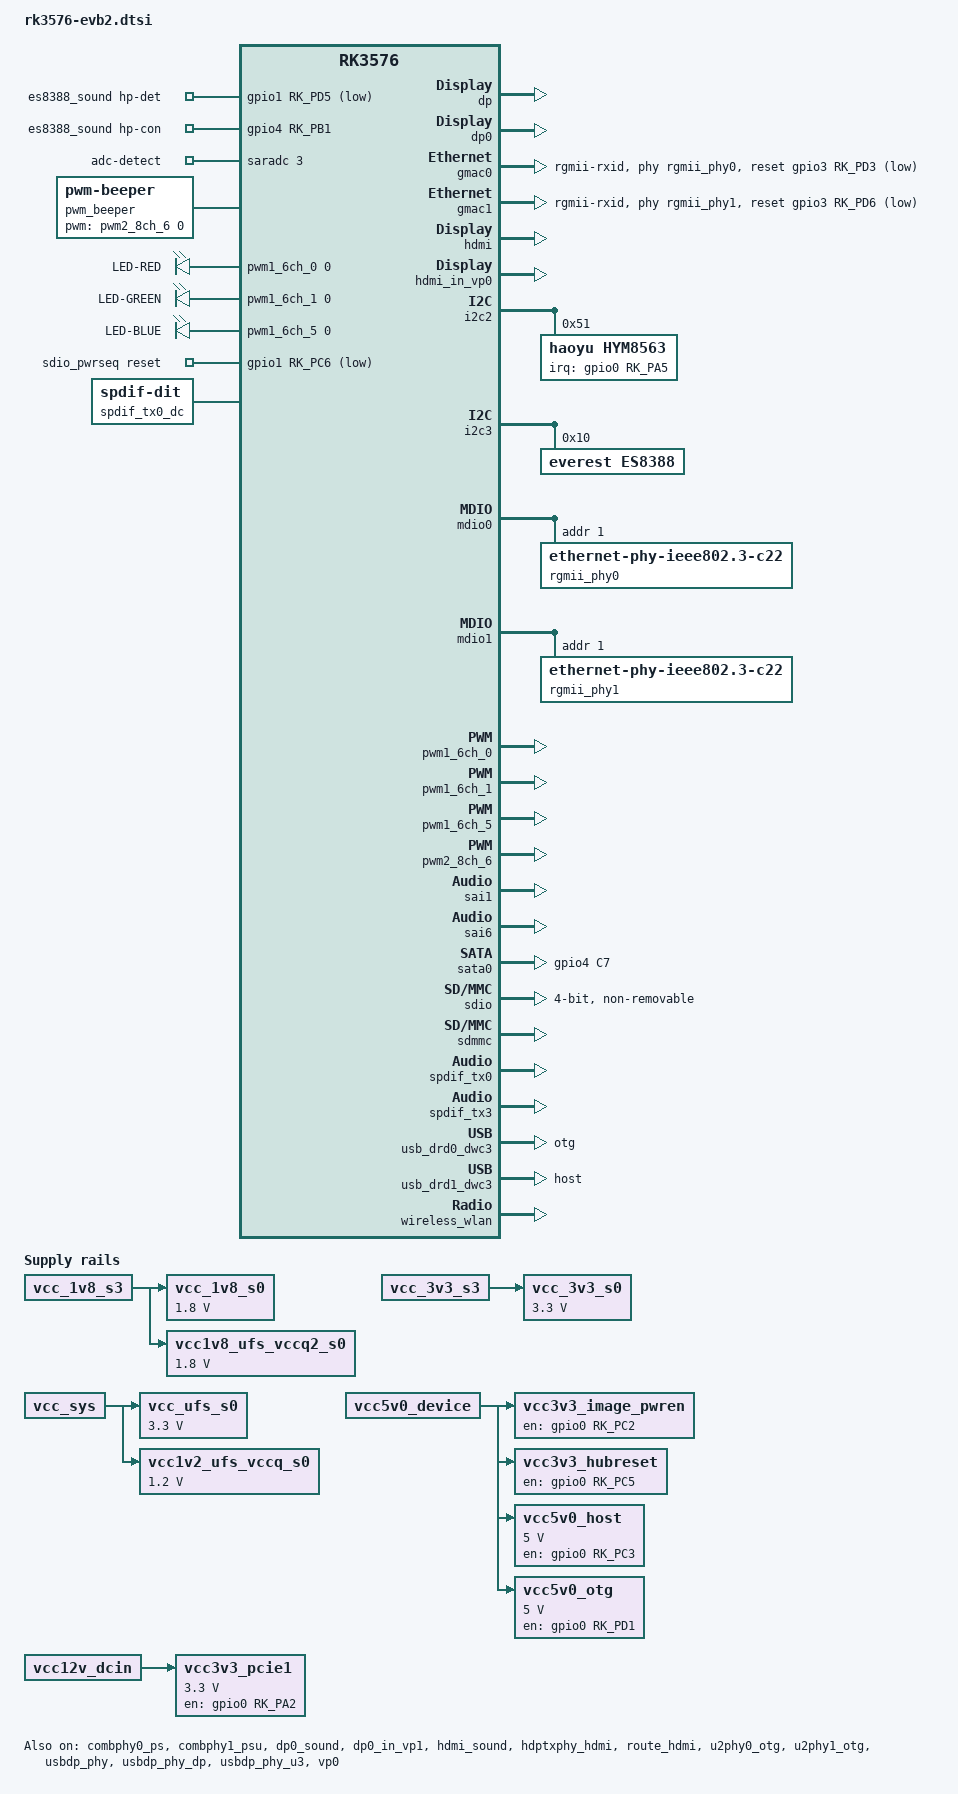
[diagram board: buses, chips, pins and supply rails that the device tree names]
// SPDX-License-Identifier: (GPL-2.0+ OR MIT)
/*
 * Copyright (c) 2024 Rockchip Electronics Co., Ltd.
 *
 */

#include <dt-bindings/usb/pd.h>
#include "rk3576-evb.dtsi"
#include "rk3576-rk806.dtsi"

/delete-node/ &leds;
/delete-node/ &gt1x;

/ {
	es8388_sound: es8388-sound {
		status = "okay";
		compatible = "rockchip,multicodecs-card";
		rockchip,card-name = "rockchip-es8388";
		hp-det-gpio = <&gpio1 RK_PD5 GPIO_ACTIVE_LOW>;
		io-channels = <&saradc 3>;
		io-channel-names = "adc-detect";
		keyup-threshold-microvolt = <1800000>;
		poll-interval = <100>;
		hp-con-gpio = <&gpio4 RK_PB1 GPIO_ACTIVE_HIGH>;
		rockchip,pre-power-on-delay-ms = <30>;
		rockchip,post-power-down-delay-ms = <40>;
		rockchip,format = "i2s";
		rockchip,mclk-fs = <256>;
		rockchip,cpu = <&sai1>;
		rockchip,codec = <&es8388>;
		rockchip,audio-routing =
			"Headphone", "LOUT1",
			"Headphone", "ROUT1",
			"Speaker", "LOUT2",
			"Speaker", "ROUT2",
			"Headphone", "Headphone Power",
			"Headphone", "Headphone Power",
			"Speaker", "Speaker Power",
			"Speaker", "Speaker Power",
			"LINPUT1", "Main Mic",
			"LINPUT2", "Main Mic",
			"RINPUT1", "Headset Mic",
			"RINPUT2", "Headset Mic";
		pinctrl-names = "default";
		pinctrl-0 = <&hp_det>;
		play-pause-key {
			label = "playpause";
			linux,code = <KEY_PLAYPAUSE>;
			press-threshold-microvolt = <2000>;
		};
	};

	pwm_beeper: pwm-beeper {
		status = "okay";
		compatible = "pwm-beeper";
		pwms = <&pwm2_8ch_6 0 5000 0>;
	};

	pwm_leds: pwm-leds {
		status = "okay";
		compatible = "pwm-leds";
		r_led: r-led {
			label = "LED-RED";
			pwms = <&pwm1_6ch_0 0 5000 0>;
			max-brightness = <255>;
			default-state = "off";
		};
		g_led: g-led {
			label = "LED-GREEN";
			pwms = <&pwm1_6ch_1 0 5000 0>;
			max-brightness = <255>;
			default-state = "off";
		};
		b_led: b-led {
			label = "LED-BLUE";
			pwms = <&pwm1_6ch_5 0 5000 0>;
			max-brightness = <255>;
			default-state = "on";
			linux,default-trigger = "heartbeat";
		};
	};

	sdio_pwrseq: sdio-pwrseq {
		compatible = "mmc-pwrseq-simple";
		pinctrl-names = "default";
		pinctrl-0 = <&wifi_poweren_gpio>;

		/*
		 * On the module itself this is one of these (depending
		 * on the actual card populated):
		 * - SDIO_RESET_L_WL_REG_ON
		 * - PDN (power down when low)
		 */
		post-power-on-delay-ms = <200>;
		reset-gpios = <&gpio1 RK_PC6 GPIO_ACTIVE_LOW>;
	};

	spdif_tx0_dc: spdif-tx0-dc {
		status = "okay";
		compatible = "linux,spdif-dit";
		#sound-dai-cells = <0>;
	};

	spdif_tx0_sound: spdif-tx0-sound {
		status = "okay";
		compatible = "simple-audio-card";
		simple-audio-card,mclk-fs = <128>;
		simple-audio-card,name = "rockchip,spdif-tx0";
		simple-audio-card,cpu {
			sound-dai = <&spdif_tx0>;
		};
		simple-audio-card,codec {
			sound-dai = <&spdif_tx0_dc>;
		};
	};

	vcc_1v8_s0: vcc-1v8-s0 {
		compatible = "regulator-fixed";
		regulator-name = "vcc_1v8_s0";
		regulator-boot-on;
		regulator-always-on;
		regulator-min-microvolt = <1800000>;
		regulator-max-microvolt = <1800000>;
		vin-supply = <&vcc_1v8_s3>;
	};

	vcc_3v3_s0: vcc-3v3-s0 {
		compatible = "regulator-fixed";
		regulator-name = "vcc_3v3_s0";
		regulator-boot-on;
		regulator-always-on;
		regulator-min-microvolt = <3300000>;
		regulator-max-microvolt = <3300000>;
		vin-supply = <&vcc_3v3_s3>;
	};

	vcc_ufs_s0: vcc-ufs-s0 {
		compatible = "regulator-fixed";
		regulator-name = "vcc_ufs_s0";
		regulator-boot-on;
		regulator-always-on;
		regulator-min-microvolt = <3300000>;
		regulator-max-microvolt = <3300000>;
		vin-supply = <&vcc_sys>;
	};

	vcc1v8_ufs_vccq2_s0: vcc1v8-ufs-vccq2-s0 {
		compatible = "regulator-fixed";
		regulator-name = "vcc1v8_ufs_vccq2_s0";
		regulator-boot-on;
		regulator-always-on;
		regulator-min-microvolt = <1800000>;
		regulator-max-microvolt = <1800000>;
		vin-supply = <&vcc_1v8_s3>;
	};

	vcc1v2_ufs_vccq_s0: vcc1v2-ufs-vccq-s0 {
		compatible = "regulator-fixed";
		regulator-name = "vcc1v2_ufs_vccq_s0";
		regulator-boot-on;
		regulator-always-on;
		regulator-min-microvolt = <1200000>;
		regulator-max-microvolt = <1200000>;
		vin-supply = <&vcc_sys>;
	};

	vcc3v3_image_pwren: image-pwren {
		compatible = "regulator-fixed";
		regulator-name = "vcc3v3_image_pwren";
		enable-active-high;
		regulator-boot-on;
		regulator-always-on;
		gpio = <&gpio0 RK_PC2 GPIO_ACTIVE_HIGH>;
		vin-supply = <&vcc5v0_device>;
		pinctrl-names = "default";
		pinctrl-0 = <&image_pwren_gpio>;
	};

	vcc3v3_hubreset: vcc3v3-hubreset {
		compatible = "regulator-fixed";
		regulator-name = "vcc3v3_hubreset";
		enable-active-high;
		regulator-boot-on;
		regulator-always-on;
		gpio = <&gpio0 RK_PC5 GPIO_ACTIVE_HIGH>;
		vin-supply = <&vcc5v0_device>;
		pinctrl-names = "default";
		pinctrl-0 = <&usb_hub_reset>;
	};

	vcc3v3_pcie1: vcc3v3-pcie1 {
		compatible = "regulator-fixed";
		regulator-name = "vcc3v3_pcie1";
		regulator-min-microvolt = <3300000>;
		regulator-max-microvolt = <3300000>;
		enable-active-high;
		gpios = <&gpio0 RK_PA2 GPIO_ACTIVE_HIGH>;
		startup-delay-us = <5000>;
		vin-supply = <&vcc12v_dcin>;
		pinctrl-names = "default";
		pinctrl-0 = <&pcie_pwr_en>;
	};

	vcc5v0_host: vcc5v0-host {
		compatible = "regulator-fixed";
		regulator-name = "vcc5v0_host";
		regulator-boot-on;
		regulator-always-on;
		regulator-min-microvolt = <5000000>;
		regulator-max-microvolt = <5000000>;
		enable-active-high;
		gpio = <&gpio0 RK_PC3 GPIO_ACTIVE_HIGH>;
		vin-supply = <&vcc5v0_device>;
		pinctrl-names = "default";
		pinctrl-0 = <&usb_host_pwren>;
	};

	vcc5v0_otg: vcc5v0-otg {
		compatible = "regulator-fixed";
		regulator-name = "vcc5v0_otg";
		regulator-min-microvolt = <5000000>;
		regulator-max-microvolt = <5000000>;
		enable-active-high;
		gpio = <&gpio0 RK_PD1 GPIO_ACTIVE_HIGH>;
		vin-supply = <&vcc5v0_device>;
		pinctrl-names = "default";
		pinctrl-0 = <&usb_otg0_pwren>;
	};
};

&backlight {
	status = "disabled";
};

&combphy0_ps {
	status = "okay";
};

&combphy1_psu {
	status = "okay";
};

&dp {
	pinctrl-0 = <&dpm0_pins>;
	pinctrl-names = "default";
	status = "okay";
};

&dp0 {
	status = "okay";
};

&dp0_sound {
	status = "okay";
};

&dp0_in_vp1 {
	status = "okay";
};

&gmac0 {
	/* Use rgmii-rxid mode to disable rx delay inside Soc */
	phy-mode = "rgmii-rxid";
	clock_in_out = "output";

	snps,reset-gpio = <&gpio3 RK_PD3 GPIO_ACTIVE_LOW>;
	snps,reset-active-low;
	/* Reset time is 20ms, 100ms for rtl8211f */
	snps,reset-delays-us = <0 20000 100000>;

	pinctrl-names = "default";
	pinctrl-0 = <&eth0m1_miim
		     &eth0m1_tx_bus2
		     &eth0m1_rx_bus2
		     &eth0m1_rgmii_clk
		     &eth0m1_rgmii_bus>;

	tx_delay = <0x1d>;
	/* rx_delay = <0x3f>; */

	phy-handle = <&rgmii_phy0>;
	status = "okay";
};

&gmac1 {
	/* Use rgmii-rxid mode to disable rx delay inside Soc */
	phy-mode = "rgmii-rxid";
	clock_in_out = "output";

	snps,reset-gpio = <&gpio3 RK_PD6 GPIO_ACTIVE_LOW>;
	snps,reset-active-low;
	/* Reset time is 20ms, 100ms for rtl8211f */
	snps,reset-delays-us = <0 20000 100000>;

	pinctrl-names = "default";
	pinctrl-0 = <&eth1m0_miim
		     &eth1m0_tx_bus2
		     &eth1m0_rx_bus2
		     &eth1m0_rgmii_clk
		     &eth1m0_rgmii_bus>;

	tx_delay = <0x1e>;
	/* rx_delay = <0x3f>; */

	phy-handle = <&rgmii_phy1>;
	status = "okay";
};

&hdmi {
	enable-gpios = <&gpio4 RK_PC6 GPIO_ACTIVE_HIGH>;
	status = "okay";
};

&hdmi_in_vp0 {
	status = "okay";
};

&hdmi_sound {
	status = "okay";
};

&hdptxphy_hdmi {
	status = "okay";
};

&i2c0 {
	status = "disabled";
};

&i2c2 {
	status = "okay";
	pinctrl-names = "default";
	pinctrl-0 = <&i2c2m0_xfer>;

	hym8563: hym8563@51 {
		compatible = "haoyu,hym8563";
		reg = <0x51>;

		pinctrl-names = "default";
		pinctrl-0 = <&rtc_int>;

		interrupt-parent = <&gpio0>;
		interrupts = <RK_PA5 IRQ_TYPE_LEVEL_LOW>;
		wakeup-source;
	};
};

&i2c3 {
	status = "okay";
	es8388: es8388@10 {
		status = "okay";
		#sound-dai-cells = <0>;
		compatible = "everest,es8388", "everest,es8323";
		reg = <0x10>;
		clocks = <&mclkout_sai1>;
		clock-names = "mclk";
		assigned-clocks = <&mclkout_sai1>;
		assigned-clock-rates = <12288000>;
		pinctrl-names = "default";
		pinctrl-0 = <&sai1m0_mclk>;
	};
};

&mdio0 {
	rgmii_phy0: phy@1 {
		compatible = "ethernet-phy-ieee802.3-c22";
		reg = <0x1>;
	};
};

&mdio1 {
	rgmii_phy1: phy@1 {
		compatible = "ethernet-phy-ieee802.3-c22";
		reg = <0x1>;
	};
};

&pcie1 {
	pinctrl-names = "default";
	pinctrl-0 = <&pcie_reset_gpio>;
	reset-gpios = <&gpio4 RK_PA0 GPIO_ACTIVE_HIGH>;
	vpcie3v3-supply = <&vcc3v3_pcie1>;
	status = "disabled";
};

&pwm1_6ch_0 {
	status = "okay";
};

&pwm1_6ch_1 {
	status = "okay";
};

&pwm1_6ch_5 {
	status = "okay";
};

&pwm2_8ch_6 {
	status = "okay";
};

&route_hdmi {
	status = "okay";
	connect = <&vp0_out_hdmi>;
};

&sai1 {
	status = "okay";
	rockchip,sai-rx-route = <1 0 2 3>;
	rockchip,sai-tx-route = <1 0 2 3>;
	pinctrl-names = "default";
	pinctrl-0 = <&sai1m0_lrck
		     &sai1m0_sclk
		     &sai1m0_sdi1
		     &sai1m0_sdo1>;
};

&sai6 {
	status = "okay";
};

&sata0 {
	status = "okay";
	pinctrl-0 = <&satapm_pwren>;
	pinctrl-names = "default";
};

&sdio {
	max-frequency = <150000000>;
	no-sd;
	no-mmc;
	bus-width = <4>;
	disable-wp;
	cap-sd-highspeed;
	cap-sdio-irq;
	keep-power-in-suspend;
	mmc-pwrseq = <&sdio_pwrseq>;
	non-removable;
	pinctrl-names = "default";
	pinctrl-0 = <&sdmmc1m0_bus4 &sdmmc1m0_clk &sdmmc1m0_cmd>;
	sd-uhs-sdr104;
	status = "okay";
};

&sdmmc {
	status = "okay";
};

&spdif_tx0 {
	status = "okay";
	pinctrl-0 = <&spdifm1_tx0>;
};

&spdif_tx3 {
	status = "okay";
};

&ufs {
	vcc-supply = <&vcc_ufs_s0>;
	vccq-supply = <&vcc1v2_ufs_vccq_s0>;
	vccq2-supply = <&vcc1v8_ufs_vccq2_s0>;
};

&u2phy0_otg {
	vbus-supply = <&vcc5v0_otg>;
	status = "okay";
};

&u2phy1_otg {
	phy-supply = <&vcc5v0_host>;
	status = "okay";
};

&usbdp_phy {
	rockchip,dp-lane-mux = <2 3>;
	status = "okay";
};

&usbdp_phy_dp {
	status = "okay";
};

&usbdp_phy_u3 {
	status = "okay";
};

&usb_drd0_dwc3 {
	dr_mode = "otg";
	extcon = <&u2phy0>;
	status = "okay";
};

&usb_drd1_dwc3 {
	dr_mode = "host";
	status = "okay";
};

&vp0 {
	status = "okay";
};

&pinctrl {
	/delete-node/ touch-gpio;

	headphone {
		hp_det: hp-det {
			rockchip,pins = <1 RK_PD5 RK_FUNC_GPIO &pcfg_pull_up>;
		};
	};

	image {
		image_pwren_gpio: image-pwren-gpio {
			rockchip,pins = <0 RK_PC2 RK_FUNC_GPIO &pcfg_pull_up>;
		};
	};

	pcie {
		pcie_reset_gpio: pcie-reset-gpio {
			rockchip,pins = <4 RK_PA0 RK_FUNC_GPIO &pcfg_pull_none>;
		};
		pcie_pwr_en: pcie-pwr-en {
			rockchip,pins = <0 RK_PA2 RK_FUNC_GPIO &pcfg_pull_none>;
		};
	};

	rtc {
		rtc_int: rtc-int {
			rockchip,pins = <0 RK_PA5 RK_FUNC_GPIO &pcfg_pull_up>;
		};
	};

	sata {
		satapm_pwren: satapm-pwren {
			rockchip,pins = <4 RK_PC7 RK_FUNC_GPIO &pcfg_output_high>;
		};
	};

	usb {
		usb_host_pwren: usb-host-pwren {
			rockchip,pins = <0 RK_PC3 RK_FUNC_GPIO &pcfg_pull_none>;
		};

		usb_hub_reset: usb-hub-reset {
			rockchip,pins = <0 RK_PC5 RK_FUNC_GPIO &pcfg_pull_none>;
		};

		usb_otg0_pwren: usb-otg0-pwren {
			rockchip,pins = <0 RK_PD1 RK_FUNC_GPIO &pcfg_pull_none>;
		};
	};

	wireless-bluetooth {
		uart4_gpios: uart4-gpios {
			rockchip,pins = <1 RK_PC2 RK_FUNC_GPIO &pcfg_pull_none>;
		};
	};

	wireless-wlan {
		wifi_host_wake_irq: wifi-host-wake-irq {
			rockchip,pins = <0 RK_PB0 RK_FUNC_GPIO &pcfg_pull_down>;
		};

		wifi_poweren_gpio: wifi-poweren-gpio {
			rockchip,pins = <1 RK_PC6 RK_FUNC_GPIO &pcfg_pull_up>;
		};
	};
};

&wireless_wlan {
	wifi_chip_type = "ap6398s";
	status = "okay";
};

